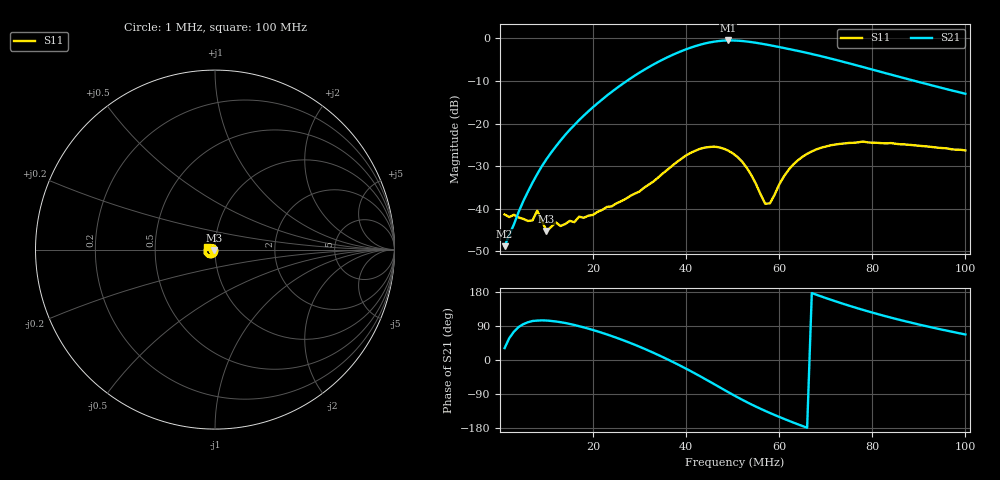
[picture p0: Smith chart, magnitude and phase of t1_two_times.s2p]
# HZ S RI R 50
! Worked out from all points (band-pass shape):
!   100 points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, 1 MHz to 100 MHz, reference 50 ohm
!   highest |S21| = -0.49 dB at 49 MHz (marker M1); lowest = -48.8 dB at 1 MHz (marker M2)
!   |S21| within 3 dB of the highest: 37.89 MHz to 66.29 MHz (28.39 MHz wide, 54.5 % of centre)
!   lowest |S11| = -45.3 dB at 10 MHz (marker M3), VSWR 1.01, Z = 49.5 - j0.15 ohm
!   |S11| at or under -10 dB: start of sweep to end of sweep
!   S12 and S22 are empty: the file has one direction only
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1000001  -0.00856 0.000448  0.0031 0.00189  0 0  0 0
6000001  -0.00718 -0.000298  -0.00263 0.0156  0 0  0 0
7000001  -0.00729 -0.000444  -0.00454 0.0198  0 0  0 0
8000001  -0.00944 -0.00079  -0.00615 0.0247  0 0  0 0
1e7  -0.00525 -0.00152  -0.00935 0.037  0 0  0 0
1.2e7  -0.00643 -0.00253  -0.0109 0.0527  0 0  0 0
1.8e7  -0.00547 -0.00561  0.00845 0.1236  0 0  0 0
2.8e7  -0.00571 -0.0129  0.2386 0.238  0 0  0 0
3.4e7  -0.00792 -0.0219  0.5152 0.122  0 0  0 0
3.8e7  -0.0173 -0.0309  0.6622 -0.1217  0 0  0 0
4.2e7  -0.0372 -0.0303  0.6557 -0.4782  0 0  0 0
4.5e7  -0.0507 -0.0156  0.4927 -0.747  0 0  0 0
4.9e7  -0.0461 0.0143  0.0906 -0.941  0 0  0 0
5.1e7  -0.0327 0.0242  -0.1315 -0.9312  0 0  0 0
5.4e7  -0.00793 0.0236  -0.4119 -0.8054  0 0  0 0
5.7e7  0.00913 0.00691  -0.5944 -0.6078  0 0  0 0
5.8e7  0.0116 -0.000191  -0.6343 -0.5365  0 0  0 0
6.3e7  0.00177 -0.033  -0.7071 -0.1907  0 0  0 0
6.7e7  -0.0194 -0.0429  -0.6544 0.0387  0 0  0 0
7.5e7  -0.0514 -0.0295  -0.4093 0.3038  0 0  0 0
8.4e7  -0.0588 -0.00579  -0.1399 0.349  0 0  0 0
1e8  -0.046 0.0146  0.0861 0.2064  0 0  0 0
